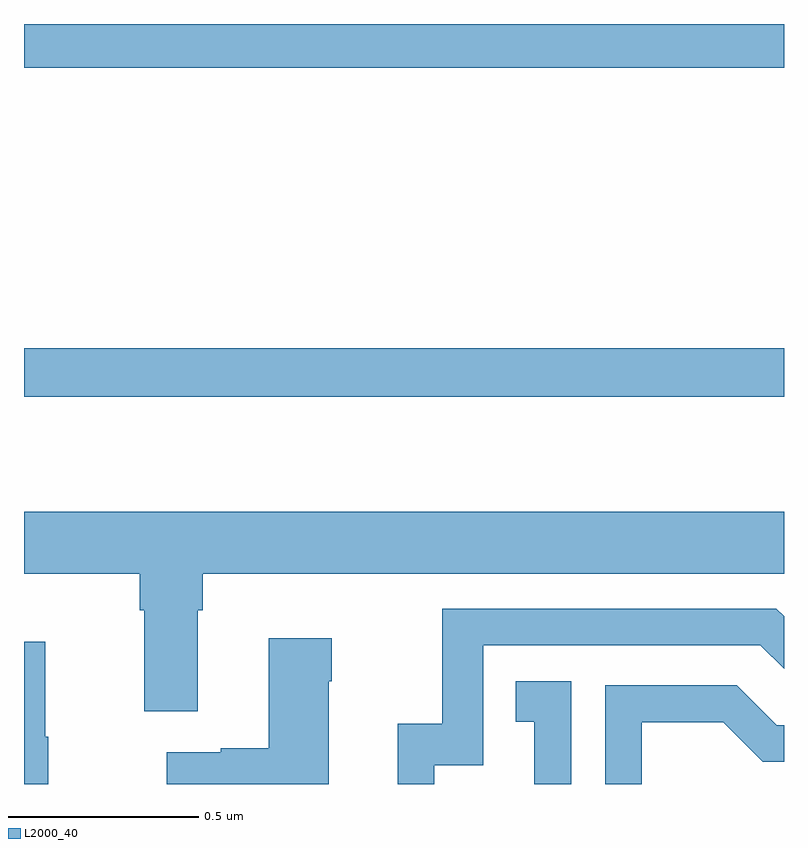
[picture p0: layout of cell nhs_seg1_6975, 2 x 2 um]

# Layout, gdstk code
import gdstk
lib = gdstk.Library(unit=1e-6, precision=1e-09)
def R(c, l, rs):  # rectangles x0, y0, x1, y1
    for r in rs: c.add(gdstk.rectangle(r[:2], r[2:], *l))
def P(c, l, *ps):  # polygons
    for p in ps: c.add(gdstk.Polygon(p, *l))
L2000_40 = (2000, 40)

nhs_seg1_6975 = lib.new_cell('nhs_seg1_6975')
R(nhs_seg1_6975, L2000_40, [(198,532.218,200,532.346), (198,533.084,200,533.199)])
P(nhs_seg1_6975, L2000_40, [(198.457,531.656),(198.47,531.656),(198.47,531.752),(200,531.752),(200,531.916),(198,531.916),(198,531.752),(198.305,531.752),(198.305,531.656),(198.317,531.656),(198.317,531.39),(198.457,531.39)],
  [(199.08,531.249),(199.209,531.249),(199.209,531.564),(199.938,531.564),(200,531.502),(200,531.64),(199.98,531.66),(199.101,531.66),(199.101,531.358),(198.983,531.358),(198.983,531.199),(199.08,531.199)],
  [(198.802,531.47),(198.81,531.47),(198.81,531.583),(198.644,531.583),(198.644,531.293),(198.518,531.293),(198.518,531.283),(198.375,531.283),(198.375,531.199),(198.802,531.199)],
  [(198.064,531.324),(198.056,531.324),(198.056,531.574),(198,531.574),(198,531.199),(198.064,531.199)],
  [(199.44,531.469),(199.294,531.469),(199.294,531.363),(199.343,531.363),(199.343,531.199),(199.44,531.199)],
  [(199.626,531.362),(199.84,531.362),(199.944,531.258),(200,531.258),(200,531.354),(199.981,531.354),(199.876,531.459),(199.53,531.459),(199.53,531.199),(199.626,531.199)])

lib.write_gds('nhs_seg1_6975.gds')
